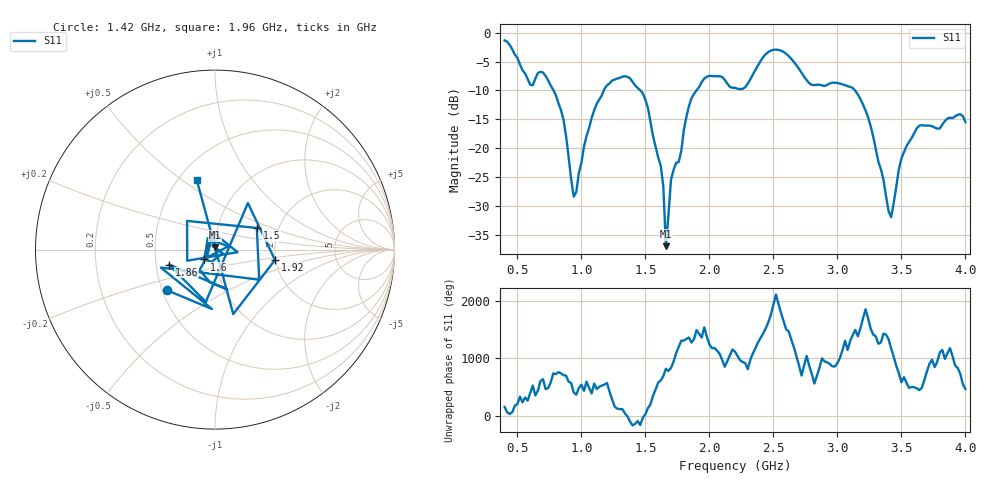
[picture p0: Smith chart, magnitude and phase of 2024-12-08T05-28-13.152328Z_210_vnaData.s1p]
!Created with skrf (http://scikit-rf.org).
# Hz S RI R 50.0
!freq ReS11 ImS11
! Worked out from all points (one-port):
!   181 points, 400 MHz to 4 GHz, reference 50 ohm
!   lowest |S11| = -37.0 dB at 1.66 GHz (marker M1), VSWR 1.03, Z = 49.7 + j1.38 ohm
!   |S11| at or under -10 dB: 782.4 MHz to 1.175 GHz (392.8 MHz wide, 40.1 % of centre); 1.462 GHz to 1.899 GHz (437.2 MHz wide, 26 % of centre); 3.138 GHz to end of sweep
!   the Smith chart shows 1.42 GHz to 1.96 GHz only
!   S11 on the Smith chart (normalised r, x): 1.42 GHz: 0.53, -0.28; 1.5 GHz: 1.54, +0.40; 1.6 GHz: 0.88, -0.10; 1.86 GHz: 0.58, -0.10; 1.92 GHz: 1.98, -0.26; 1.96 GHz: 0.61, +0.57
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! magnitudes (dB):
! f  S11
! 400 MHz  -1.3
! 600 MHz  -9.0
! 720 MHz  -7.5
! 860 MHz  -15.1
! 940 MHz  -28.4
! 1.12 GHz  -12.3
! 1.3 GHz  -7.8
! 1.42 GHz  -9.1
! 1.5 GHz  -11.6
! 1.6 GHz  -21.6
! 1.64 GHz  -26.7
! 1.66 GHz  -37.0
! 1.7 GHz  -25.5
! 1.76 GHz  -22.4
! 1.86 GHz  -11.4
! 1.92 GHz  -9.4
! 1.96 GHz  -7.9
! 2.2 GHz  -9.5
! 2.48 GHz  -3.1
! 2.66 GHz  -5.1
! 2.8 GHz  -9.0
! 3.1 GHz  -9.4
! 3.24 GHz  -14.7
! 3.42 GHz  -32.0
! 3.5 GHz  -21.8
! 3.56 GHz  -18.9
! 3.64 GHz  -16.1
! 4 GHz  -15.5
